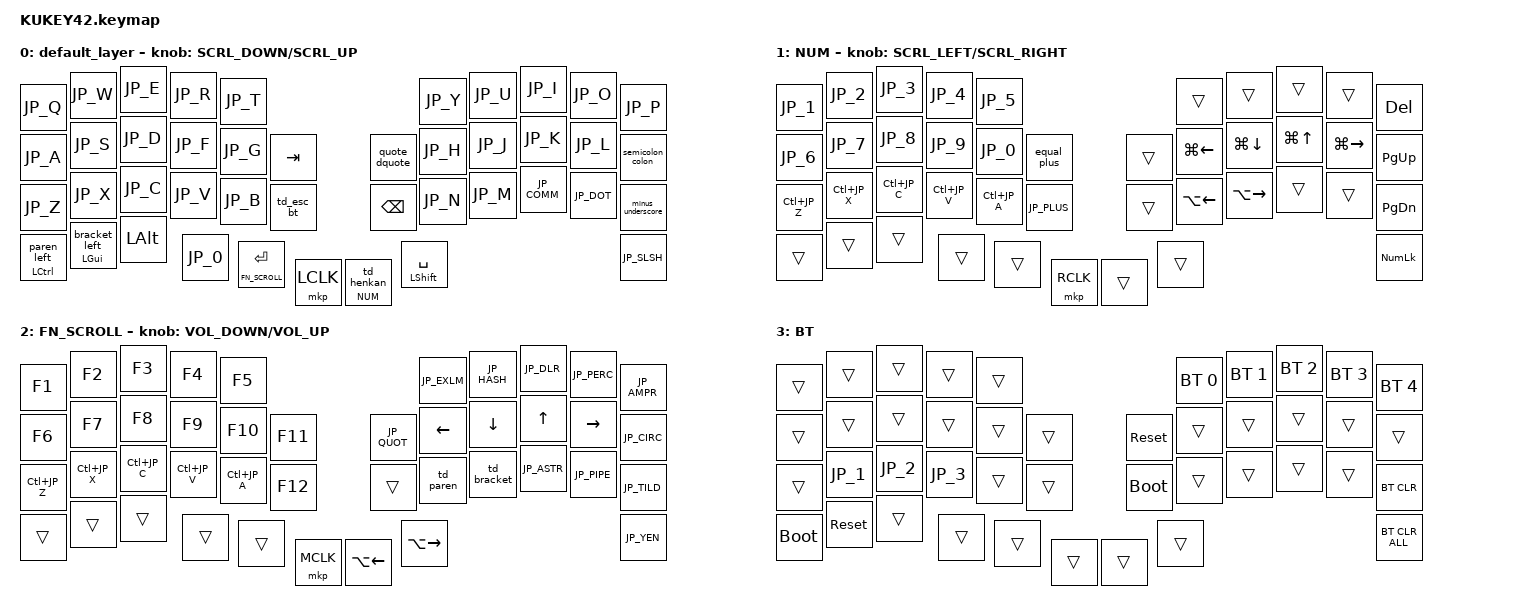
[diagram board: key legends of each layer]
#define ZMK_POINTING_DEFAULT_SCRL_VAL 80

#include <behaviors.dtsi>
#include <dt-bindings/zmk/bt.h>
#include <dt-bindings/zmk/keys.h>
#include <dt-bindings/zmk/pointing.h>
#include "japanese_keymap.h"

#define NUM 1
#define FN_SCROLL 2
#define BT 3

&mt {
    flavor = "balanced";
    quick-tap-ms = <0>;
};

/ {
    combos { compatible = "zmk,combos"; };

    macros {
        paren_left: paren_left {
            compatible = "zmk,behavior-macro";
            #binding-cells = <0>;
            bindings = <&kp JP_LPRN &kp JP_RPRN &kp LEFT>;
            label = "PAREN_LEFT";
        };

        bracket_left: bracket_left {
            compatible = "zmk,behavior-macro";
            #binding-cells = <0>;
            bindings = <&kp JP_LBRC &kp JP_RBRC &kp LEFT>;
            label = "BRACKET_LEFT";
        };
    };

    behaviors {
        td_henkan: td_henkan {
            compatible = "zmk,behavior-tap-dance";
            label = "TAPDANCE_HENKAN";
            #binding-cells = <0>;
            bindings = <&kp JP_MHEN>, <&kp JP_HENK>;

            tapping-term-ms = <250>;
        };

        td_esc_bt: td_esc_bt {
            compatible = "zmk,behavior-tap-dance";
            label = "TAPDANCE_ESC_BT";
            #binding-cells = <0>;
            bindings = <&kp ESCAPE>, <&sl BT>;

            tapping-term-ms = <250>;
        };

        td_paren: td_paren {
            compatible = "zmk,behavior-tap-dance";
            label = "TAPDANCE_PAREN";
            #binding-cells = <0>;
            bindings = <&kp JP_LPRN>, <&kp JP_RPRN>;

            tapping-term-ms = <200>;
        };

        td_bracket: td_bracket {
            compatible = "zmk,behavior-tap-dance";
            label = "TAPDANCE_BRACKET";
            #binding-cells = <0>;
            bindings = <&kp JP_LBRC>, <&kp JP_RBRC>;

            tapping-term-ms = <200>;
        };

        lt_num_henkan: lt_num_henkan {
            compatible = "zmk,behavior-hold-tap";
            label = "LAYER_TAP_NUM_HENKAN";
            bindings = <&mo>, <&td_henkan>;
            #binding-cells = <2>;
            tapping-term-ms = <200>;
            flavor = "tap-preferred";
        };

        semicolon_colon: semicolon_colon {
            compatible = "zmk,behavior-mod-morph";
            label = "SEMICOLON_COLON";
            #binding-cells = <0>;
            bindings = <&kp JP_COLN>, <&kp JP_SCLN>;
            mods = <(MOD_LSFT|MOD_RSFT)>;
        };

        quote_dquote: quote_dquote {
            compatible = "zmk,behavior-mod-morph";
            label = "QUOTE_DQUOTE";
            #binding-cells = <0>;
            bindings = <&kp JP_QUOT>, <&kp JP_DQUO>;
            mods = <(MOD_LSFT|MOD_RSFT)>;
        };

        equal_plus: equal_plus {
            compatible = "zmk,behavior-mod-morph";
            label = "EQUAL_PLUS";
            #binding-cells = <0>;
            bindings = <&kp JP_EQL>, <&kp JP_PLUS>;
            mods = <(MOD_LSFT|MOD_RSFT)>;
        };

        minus_underscore: minus_underscore {
            compatible = "zmk,behavior-mod-morph";
            label = "MINUS_UNDERSCORE";
            #binding-cells = <0>;
            bindings = <&kp JP_MINS>, <&kp JP_UNDS>;
            mods = <(MOD_LSFT|MOD_RSFT)>;
        };

        ht_bracket_os: ht_bracket_os {
            compatible = "zmk,behavior-hold-tap";
            label = "HOLD_TAP_BRACKET_OS";
            bindings = <&kp>, <&bracket_left>;
            #binding-cells = <2>;
            tapping-term-ms = <200>;
            flavor = "tap-preferred";
        };

        ht_paren_ctrl: ht_paren_ctrl {
            compatible = "zmk,behavior-hold-tap";
            label = "HOLD_TAP_PAREN_CTRL";
            bindings = <&kp>, <&paren_left>;
            #binding-cells = <2>;
            tapping-term-ms = <200>;
            flavor = "tap-preferred";
        };

        WheelScroll: WheelScroll {
            compatible = "zmk,behavior-sensor-rotate-var";
            label = "WHEELSCROLL";
            #sensor-binding-cells = <2>;
            bindings = <&msc>, <&msc>;

            tap-ms = <20>;
        };
    };

    keymap {
        compatible = "zmk,keymap";

        default_layer {
            bindings = <
// +--------------------+--------------------+--------------------+--------------------+--------------------+--------------------+    +--------------------+--------------------+--------------------+--------------------+--------------------+--------------------+
    &kp JP_Q             &kp JP_W             &kp JP_E             &kp JP_R             &kp JP_T                                                            &kp JP_Y             &kp JP_U             &kp JP_I             &kp JP_O             &kp JP_P
// +--------------------+--------------------+--------------------+--------------------+--------------------+--------------------+    +--------------------+--------------------+--------------------+--------------------+--------------------+--------------------+
    &kp JP_A             &kp JP_S             &kp JP_D             &kp JP_F             &kp JP_G             &kp TAB                   &quote_dquote        &kp JP_H             &kp JP_J             &kp JP_K             &kp JP_L             &semicolon_colon
// +--------------------+--------------------+--------------------+--------------------+--------------------+--------------------+    +--------------------+--------------------+--------------------+--------------------+--------------------+--------------------+
    &kp JP_Z             &kp JP_X             &kp JP_C             &kp JP_V             &kp JP_B             &td_esc_bt                &kp BACKSPACE        &kp JP_N             &kp JP_M             &kp JP_COMM          &kp JP_DOT           &minus_underscore
// +--------------------+--------------------+--------------------+--------------------+--------------------+--------------------+    +--------------------+--------------------+--------------------+--------------------+--------------------+--------------------+
    &ht_paren_ctrl LCTRL 0 &ht_bracket_os LGUI 0 &kp LEFT_ALT      &kp JP_0             &lt FN_SCROLL ENTER  &mkp LCLK                 &lt_num_henkan NUM 0 &mt LSHIFT SPACE                                                                    &kp JP_SLSH
// +--------------------+--------------------+--------------------+--------------------+--------------------+--------------------+    +--------------------+--------------------+--------------------+--------------------+--------------------+--------------------+
            >;

            sensor-bindings = <&WheelScroll SCRL_DOWN SCRL_UP>;
        };

        NUM {
            bindings = <
// +--------------------+--------------------+--------------------+--------------------+--------------------+--------------------+    +--------------------+--------------------+--------------------+--------------------+--------------------+--------------------+
    &kp JP_1             &kp JP_2             &kp JP_3             &kp JP_4             &kp JP_5                                                            &trans               &trans               &trans               &trans               &kp DEL
// +--------------------+--------------------+--------------------+--------------------+--------------------+--------------------+    +--------------------+--------------------+--------------------+--------------------+--------------------+--------------------+
    &kp JP_6             &kp JP_7             &kp JP_8             &kp JP_9             &kp JP_0             &equal_plus               &trans               &kp LG(LEFT_ARROW)   &kp LG(DOWN_ARROW)   &kp LG(UP_ARROW)     &kp LG(RIGHT_ARROW)  &kp PAGE_UP
// +--------------------+--------------------+--------------------+--------------------+--------------------+--------------------+    +--------------------+--------------------+--------------------+--------------------+--------------------+--------------------+
    &kp LC(JP_Z)         &kp LC(JP_X)         &kp LC(JP_C)         &kp LC(JP_V)         &kp LC(JP_A)         &kp JP_PLUS               &trans               &kp LA(LEFT_ARROW)   &kp LA(RIGHT_ARROW)  &trans               &trans               &kp PAGE_DOWN
// +--------------------+--------------------+--------------------+--------------------+--------------------+--------------------+    +--------------------+--------------------+--------------------+--------------------+--------------------+--------------------+
    &trans               &trans               &trans               &trans               &trans               &mkp RCLK                 &trans               &trans                                                                              &kp KP_NUMLOCK
// +--------------------+--------------------+--------------------+--------------------+--------------------+--------------------+    +--------------------+--------------------+--------------------+--------------------+--------------------+--------------------+
            >;

            sensor-bindings = <&WheelScroll SCRL_LEFT SCRL_RIGHT>;
        };

        FN_SCROLL {
            bindings = <
// +--------------------+--------------------+--------------------+--------------------+--------------------+--------------------+    +--------------------+--------------------+--------------------+--------------------+--------------------+--------------------+
    &kp F1               &kp F2               &kp F3               &kp F4               &kp F5                                                              &kp JP_EXLM          &kp JP_HASH          &kp JP_DLR           &kp JP_PERC          &kp JP_AMPR
// +--------------------+--------------------+--------------------+--------------------+--------------------+--------------------+    +--------------------+--------------------+--------------------+--------------------+--------------------+--------------------+
    &kp F6               &kp F7               &kp F8               &kp F9               &kp F10              &kp F11                   &kp JP_QUOT          &kp LEFT_ARROW       &kp DOWN_ARROW       &kp UP_ARROW         &kp RIGHT_ARROW      &kp JP_CIRC
// +--------------------+--------------------+--------------------+--------------------+--------------------+--------------------+    +--------------------+--------------------+--------------------+--------------------+--------------------+--------------------+
    &kp LC(JP_Z)         &kp LC(JP_X)         &kp LC(JP_C)         &kp LC(JP_V)         &kp LC(JP_A)         &kp F12                   &trans               &td_paren            &td_bracket          &kp JP_ASTR          &kp JP_PIPE          &kp JP_TILD
// +--------------------+--------------------+--------------------+--------------------+--------------------+--------------------+    +--------------------+--------------------+--------------------+--------------------+--------------------+--------------------+
    &trans               &trans               &trans               &trans               &trans               &mkp MCLK                 &kp LA(LEFT_ARROW)   &kp LA(RIGHT_ARROW)                                                                 &kp JP_YEN
// +--------------------+--------------------+--------------------+--------------------+--------------------+--------------------+    +--------------------+--------------------+--------------------+--------------------+--------------------+--------------------+
            >;

            sensor-bindings = <&inc_dec_kp C_VOLUME_DOWN C_VOLUME_UP>;
        };

        BT {
            bindings = <
// +--------------------+--------------------+--------------------+--------------------+--------------------+--------------------+    +--------------------+--------------------+--------------------+--------------------+--------------------+--------------------+
    &trans               &trans               &trans               &trans               &trans                                                              &bt BT_SEL 0         &bt BT_SEL 1         &bt BT_SEL 2         &bt BT_SEL 3         &bt BT_SEL 4
// +--------------------+--------------------+--------------------+--------------------+--------------------+--------------------+    +--------------------+--------------------+--------------------+--------------------+--------------------+--------------------+
    &trans               &trans               &trans               &trans               &trans               &trans                    &sys_reset           &trans               &trans               &trans               &trans               &trans
// +--------------------+--------------------+--------------------+--------------------+--------------------+--------------------+    +--------------------+--------------------+--------------------+--------------------+--------------------+--------------------+
    &trans               &kp JP_1             &kp JP_2             &kp JP_3             &trans               &trans                    &bootloader          &trans               &trans               &trans               &trans               &bt BT_CLR
// +--------------------+--------------------+--------------------+--------------------+--------------------+--------------------+    +--------------------+--------------------+--------------------+--------------------+--------------------+--------------------+
    &bootloader          &sys_reset           &trans               &trans               &trans               &trans                    &trans               &trans                                                                             &bt BT_CLR_ALL
// +--------------------+--------------------+--------------------+--------------------+--------------------+--------------------+    +--------------------+--------------------+--------------------+--------------------+--------------------+--------------------+
            >;
        };
    };
};
